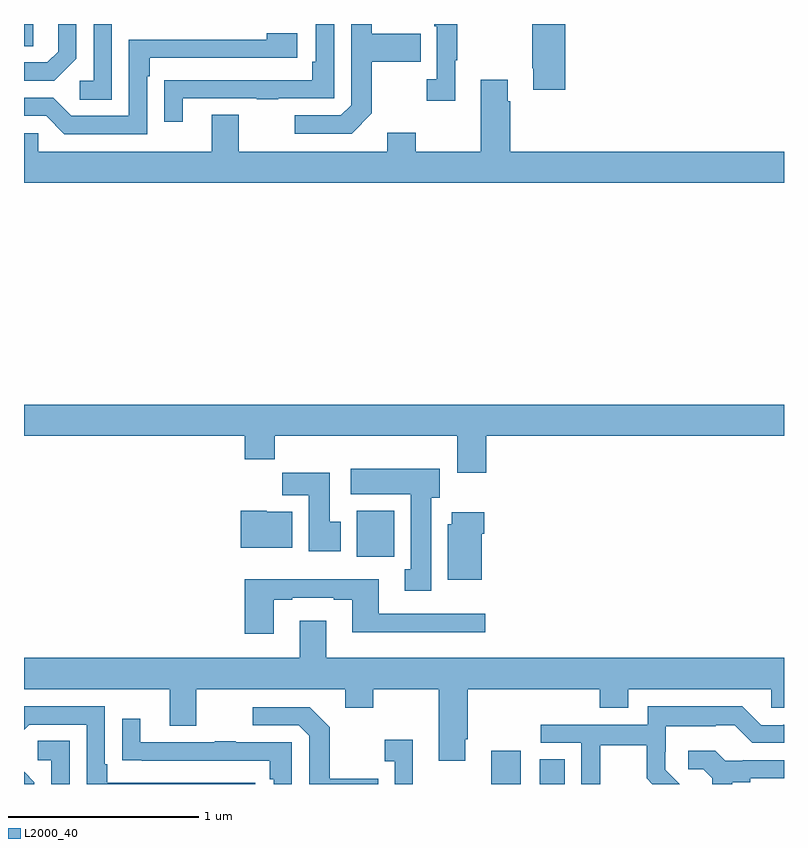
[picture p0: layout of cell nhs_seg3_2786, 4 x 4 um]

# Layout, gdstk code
import gdstk
lib = gdstk.Library(unit=1e-6, precision=1e-09)
def R(c, l, rs):  # rectangles x0, y0, x1, y1
    for r in rs: c.add(gdstk.rectangle(r[:2], r[2:], *l))
def P(c, l, *ps):  # polygons
    for p in ps: c.add(gdstk.Polygon(p, *l))
L2000_40 = (2000, 40)

nhs_seg3_2786 = lib.new_cell('nhs_seg3_2786')
R(nhs_seg3_2786, L2000_40, [(257.459,716.4,257.614,716.575), (257.714,716.4,257.845,716.531), (256.751,717.596,256.948,717.838), (255,720.283,255.048,720.4)])
P(nhs_seg3_2786, L2000_40, [(257.849,720.4),(257.674,720.4),(257.674,720.166),(257.681,720.166),(257.681,720.054),(257.849,720.054)],
  [(255.835,720.009),(256.225,720.009),(256.225,720.004),(256.337,720.004),(256.337,720.009),(256.632,720.009),(256.632,720.4),(256.536,720.4),(256.536,720.202),(256.516,720.202),(256.516,720.105),(255.841,720.105),(255.841,720.104),(255.739,720.104),(255.739,719.886),(255.835,719.886)],
  [(256.831,719.929),(256.831,720.202),(257.087,720.202),(257.087,720.349),(256.831,720.349),(256.831,720.4),(256.722,720.4),(256.722,719.973),(256.668,719.919),(256.425,719.919),(256.425,719.823),(256.725,719.823)],
  [(257.269,720.209),(257.281,720.209),(257.281,720.4),(257.16,720.4),(257.16,720.389),(257.172,720.389),(257.172,720.11),(257.121,720.11),(257.121,719.997),(257.269,719.997)],
  [(255.276,720.218),(255.276,720.4),(255.179,720.4),(255.179,720.255),(255.122,720.198),(255,720.198),(255,720.102),(255.16,720.102)],
  [(255.462,720.4),(255.366,720.4),(255.366,720.102),(255.294,720.102),(255.294,720.001),(255.462,720.001)],
  [(255.648,720.125),(255.661,720.125),(255.661,720.222),(256.438,720.222),(256.438,720.352),(256.277,720.352),(256.277,720.318),(255.552,720.318),(255.552,719.916),(255.249,719.916),(255.153,720.012),(255,720.012),(255,719.916),(255.117,719.916),(255.213,719.82),(255.648,719.82)],
  [(259,719.728),(257.558,719.728),(257.558,719.993),(257.545,719.993),(257.545,720.106),(257.405,720.106),(257.405,719.728),(257.061,719.728),(257.061,719.827),(256.913,719.827),(256.913,719.728),(256.129,719.728),(256.129,719.923),(255.989,719.923),(255.989,719.728),(255.075,719.728),(255.075,719.826),(255,719.826),(255,719.564),(259,719.564)],
  [(257.432,718.232),(259,718.232),(259,718.396),(255,718.396),(255,718.232),(256.163,718.232),(256.163,718.108),(256.319,718.108),(256.319,718.232),(257.279,718.232),(257.279,718.038),(257.432,718.038)],
  [(257.143,717.906),(257.188,717.906),(257.188,718.06),(256.719,718.06),(256.719,717.926),(257.036,717.926),(257.036,717.53),(257.003,717.53),(257.003,717.417),(257.143,717.417)],
  [(256.666,717.78),(256.609,717.78),(256.609,718.039),(256.36,718.039),(256.36,717.92),(256.499,717.92),(256.499,717.624),(256.666,717.624)],
  [(256.411,717.832),(256.278,717.832),(256.278,717.838),(256.142,717.838),(256.142,717.644),(256.411,717.644)],
  [(257.41,717.716),(257.423,717.716),(257.423,717.829),(257.252,717.829),(257.252,717.768),(257.231,717.768),(257.231,717.476),(257.41,717.476)],
  [(256.315,717.369),(256.411,717.369),(256.411,717.381),(256.631,717.381),(256.631,717.369),(256.727,717.369),(256.727,717.2),(257.428,717.2),(257.428,717.297),(256.867,717.297),(256.867,717.478),(256.163,717.478),(256.163,717.192),(256.315,717.192)],
  [(257.323,716.635),(257.336,716.635),(257.336,716.9),(258.029,716.9),(258.029,716.801),(258.181,716.801),(258.181,716.9),(258.933,716.9),(258.933,716.802),(259,716.802),(259,717.064),(256.591,717.064),(256.591,717.259),(256.451,717.259),(256.451,717.064),(255,717.064),(255,716.9),(255.767,716.9),(255.767,716.706),(255.907,716.706),(255.907,716.9),(256.691,716.9),(256.691,716.801),(256.839,716.801),(256.839,716.9),(257.183,716.9),(257.183,716.523),(257.323,716.523)],
  [(258.033,716.604),(258.277,716.604),(258.277,716.429),(258.306,716.4),(258.45,716.4),(258.376,716.474),(258.376,716.571),(258.378,716.571),(258.378,716.705),(258.641,716.705),(258.641,716.709),(258.741,716.709),(258.834,716.616),(259,716.616),(259,716.712),(258.995,716.712),(258.995,716.709),(258.879,716.709),(258.779,716.809),(258.282,716.809),(258.282,716.712),(257.721,716.712),(257.721,716.616),(257.934,716.616),(257.934,716.4),(258.033,716.4)],
  [(256.216,716.406),(255.439,716.406),(255.439,716.503),(255.426,716.503),(255.426,716.808),(255,716.808),(255,716.685),(255.027,716.712),(255.33,716.712),(255.33,716.4),(256.216,716.4)],
  [(256.865,716.427),(256.609,716.427),(256.609,716.699),(256.503,716.805),(256.203,716.805),(256.203,716.709),(256.446,716.709),(256.5,716.655),(256.5,716.4),(256.865,716.4)],
  [(256.41,716.619),(256.115,716.619),(256.115,716.624),(256.003,716.624),(256.003,716.619),(255.613,716.619),(255.613,716.743),(255.517,716.743),(255.517,716.524),(255.619,716.524),(255.619,716.523),(256.294,716.523),(256.294,716.426),(256.314,716.426),(256.314,716.4),(256.41,716.4)],
  [(257.046,716.632),(256.899,716.632),(256.899,716.519),(256.95,716.519),(256.95,716.4),(257.046,716.4)],
  [(255.24,716.627),(255.072,716.627),(255.072,716.526),(255.144,716.526),(255.144,716.4),(255.24,716.4)],
  [(258.727,716.408),(258.823,716.408),(258.823,716.43),(259,716.43),(259,716.526),(258.784,716.526),(258.784,716.523),(258.69,716.523),(258.638,716.575),(258.495,716.575),(258.495,716.478),(258.576,716.478),(258.623,716.431),(258.623,716.4),(258.727,716.4)],
  [(255.054,716.41),(255,716.464),(255,716.4),(255.054,716.4)])

lib.write_gds('nhs_seg3_2786.gds')
